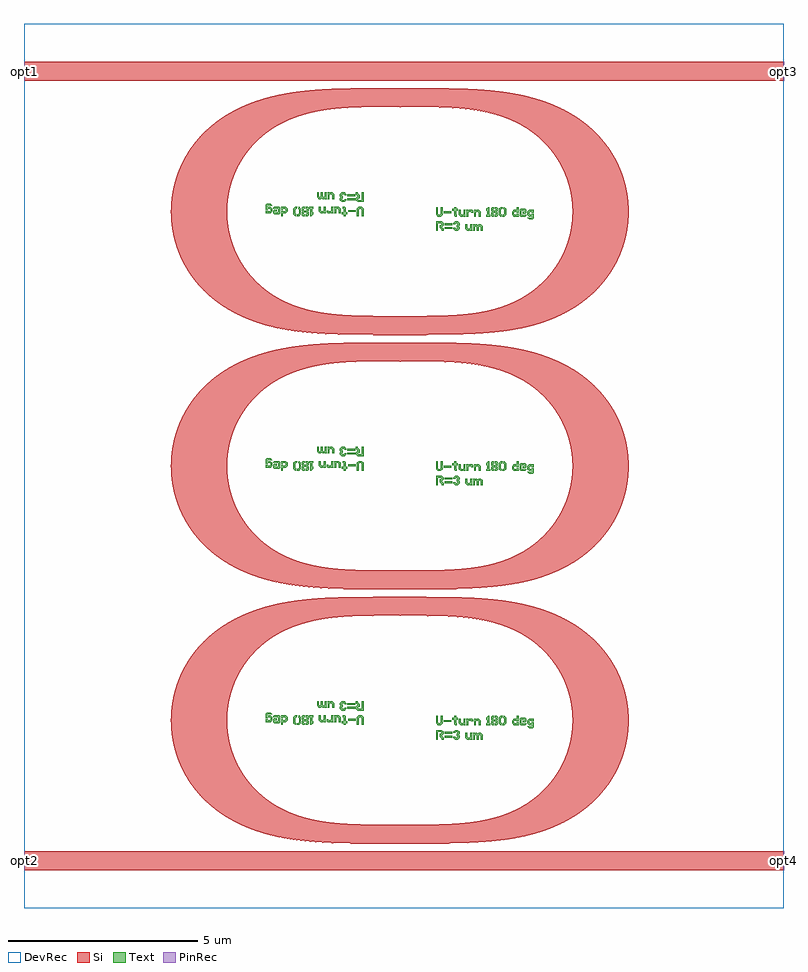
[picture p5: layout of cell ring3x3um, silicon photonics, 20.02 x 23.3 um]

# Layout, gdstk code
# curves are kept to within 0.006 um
from math import pi, radians
import gdstk
lib = gdstk.Library(unit=1e-6, precision=1e-09)
def R(c, l, rs):  # rectangles x0, y0, x1, y1
    for r in rs: c.add(gdstk.rectangle(r[:2], r[2:], *l))
def P(c, l, *ps):  # polygons
    for p in ps: c.add(gdstk.Polygon(p, *l))
Si = (1, 0)
PinRec = (1, 10)
Text = (10, 0)
DevRec = (68, 0)

text_gdsfactorypcomponen = lib.new_cell('text_gdsfactorypcomponentsptextsptext_TUmturn_180_deg*R_e07b9f0b$1')
R(text_gdsfactorypcomponen, Text, [(0.25,-0.325,0.45,-0.275), (0.25,-0.225,0.45,-0.175), (0.225,0.088,0.425,0.138)])
P(text_gdsfactorypcomponen, Text, [(1.767,0),(1.78,0.05),(1.8,0.05),(1.825,0.075),(1.825,0.175),(1.8,0.2),(1.813,0.25),(1.825,0.25),(1.875,0.2),(1.875,0.05),(1.825,0)],
  [(1.725,0),(1.675,0.05),(1.675,0.2),(1.725,0.25),(1.783,0.25),(1.77,0.2),(1.75,0.2),(1.725,0.175),(1.725,0.075),(1.75,0.05),(1.737,0)],
  [(1.025,0),(1.025,0.175),(1.075,0.175),(1.075,0.15),(1.1,0.175),(1.15,0.175),(1.2,0.125),(1.2,0),(1.15,0),(1.15,0.1),(1.125,0.125),(1.1,0.125),(1.075,0.1),(1.075,0)],
  [(2.475,-0.075),(2.425,-0.025),(2.55,-0.025),(2.55,0),(2.484,0),(2.425,0.05),(2.425,0.125),(2.475,0.175),(2.6,0.175),(2.6,0.1),(2.55,0.1),(2.55,0.125),(2.5,0.125),(2.475,0.1),(2.475,0.075),(2.5,0.05),(2.55,0.05),(2.55,0.075),(2.6,0.075),(2.6,-0.05),(2.575,-0.075)],
  [(0.85,-0.375),(0.8,-0.325),(0.8,-0.2),(0.85,-0.2),(0.85,-0.3),(0.875,-0.325),(0.9,-0.325),(0.925,-0.3),(0.925,-0.2),(0.975,-0.2),(0.975,-0.375),(0.925,-0.375),(0.925,-0.35),(0.9,-0.375)],
  [(0.675,0),(0.625,0.05),(0.625,0.175),(0.675,0.175),(0.675,0.075),(0.7,0.05),(0.725,0.05),(0.75,0.075),(0.75,0.175),(0.8,0.175),(0.8,0),(0.75,0),(0.75,0.025),(0.725,0)],
  [(1,-0.375),(1,-0.2),(1.05,-0.2),(1.05,-0.225),(1.075,-0.2),(1.1,-0.2),(1.125,-0.225),(1.15,-0.2),(1.2,-0.2),(1.25,-0.25),(1.25,-0.375),(1.2,-0.375),(1.2,-0.275),(1.175,-0.25),(1.15,-0.275),(1.15,-0.375),(1.1,-0.375),(1.1,-0.275),(1.075,-0.25),(1.05,-0.275),(1.05,-0.375)],
  [(1.35,0),(1.35,0.05),(1.375,0.05),(1.375,0.15),(1.35,0.15),(1.35,0.2),(1.4,0.25),(1.425,0.25),(1.425,0.05),(1.45,0.05),(1.45,0)],
  [(0.825,0),(0.825,0.175),(0.875,0.175),(0.875,0.15),(0.9,0.175),(0.975,0.175),(1,0.15),(1,0.1),(0.95,0.1),(0.95,0.125),(0.9,0.125),(0.875,0.1),(0.875,0)],
  [(2.25,0),(2.225,0.025),(2.225,0.175),(2.25,0.2),(2.375,0.2),(2.4,0.175),(2.4,0.1),(2.375,0.075),(2.31,0.075),(2.31,0.125),(2.35,0.125),(2.35,0.15),(2.275,0.15),(2.275,0.05),(2.4,0.05),(2.4,0.025),(2.375,0)],
  [(1.5,0),(1.475,0.025),(1.475,0.1),(1.5,0.125),(1.475,0.15),(1.475,0.225),(1.5,0.25),(1.55,0.25),(1.55,0.2),(1.525,0.2),(1.525,0.15),(1.6,0.15),(1.6,0.2),(1.575,0.2),(1.575,0.25),(1.625,0.25),(1.65,0.225),(1.65,0.15),(1.625,0.125),(1.65,0.1),(1.65,0.025),(1.625,0),(1.575,0),(1.575,0.05),(1.6,0.05),(1.6,0.1),(1.525,0.1),(1.525,0.05),(1.55,0.05),(1.55,0)],
  [(0.025,-0.375),(0.025,-0.125),(0.175,-0.125),(0.225,-0.175),(0.225,-0.225),(0.175,-0.275),(0.225,-0.325),(0.225,-0.375),(0.175,-0.375),(0.175,-0.35),(0.125,-0.3),(0.125,-0.225),(0.15,-0.225),(0.175,-0.2),(0.15,-0.175),(0.075,-0.175),(0.075,-0.375)],
  [(0.525,-0.375),(0.475,-0.325),(0.475,-0.3),(0.525,-0.3),(0.55,-0.325),(0.575,-0.325),(0.6,-0.3),(0.575,-0.275),(0.575,-0.225),(0.6,-0.2),(0.575,-0.175),(0.55,-0.175),(0.525,-0.2),(0.475,-0.2),(0.475,-0.175),(0.525,-0.125),(0.6,-0.125),(0.65,-0.175),(0.65,-0.225),(0.625,-0.25),(0.65,-0.275),(0.65,-0.325),(0.6,-0.375)],
  [(0.075,0),(0.025,0.05),(0.025,0.25),(0.075,0.25),(0.075,0.075),(0.1,0.05),(0.125,0.05),(0.15,0.075),(0.15,0.25),(0.2,0.25),(0.2,0.05),(0.15,0)],
  [(2.075,0),(2.025,0.05),(2.025,0.125),(2.075,0.175),(2.15,0.175),(2.15,0.25),(2.2,0.25),(2.2,0.1),(2.15,0.1),(2.15,0.125),(2.1,0.125),(2.075,0.1),(2.075,0.075),(2.1,0.05),(2.15,0.05),(2.15,0.075),(2.2,0.075),(2.2,0)],
  [(0.525,0),(0.5,0.025),(0.5,0.15),(0.45,0.15),(0.45,0.2),(0.5,0.2),(0.5,0.25),(0.55,0.25),(0.55,0.2),(0.6,0.2),(0.6,0.15),(0.55,0.15),(0.55,0.05),(0.575,0.05),(0.575,0)])

topic_vw_uturn_r3_1 = lib.new_cell('TOPIC_VW_Uturn_R3$1')
P(topic_vw_uturn_r3_1, Si, [(0,-0.25),(0,0.25),(0.81,0.252),(1.301,0.265),(1.8,0.303),(2.154,0.355),(2.508,0.436),(2.866,0.557),(3.172,0.701),(3.443,0.869),(3.678,1.055),(3.899,1.277),(4.082,1.511),(4.251,1.788),(4.382,2.079),(4.471,2.363),(4.53,2.676),(4.55,2.963),(4.535,3.281),(4.48,3.601),(4.382,3.921),(4.261,4.193),(4.133,4.414),(4.033,4.558),(3.92,4.699),(3.7,4.925),(3.471,5.111),(3.207,5.28),(3.037,5.368),(2.866,5.443),(2.508,5.564),(2.154,5.645),(1.8,5.697),(1.301,5.735),(0.81,5.748),(0,5.75),(0,6.25),(1.292,6.245),(2.061,6.217),(2.708,6.155),(3.247,6.06),(3.539,5.986),(3.811,5.9),(4.099,5.787),(4.328,5.678),(4.556,5.55),(4.754,5.419),(4.931,5.284),(5.109,5.127),(5.291,4.938),(5.479,4.703),(5.634,4.464),(5.778,4.182),(5.875,3.933),(5.955,3.649),(6.004,3.375),(6.027,3.084),(6.019,2.768),(5.985,2.5),(5.928,2.242),(5.828,1.938),(5.705,1.666),(5.568,1.428),(5.417,1.214),(5.232,0.997),(5.063,0.83),(4.844,0.647),(4.616,0.488),(4.398,0.359),(4.164,0.242),(3.856,0.116),(3.615,0.036),(3.316,-0.044),(3.013,-0.107),(2.708,-0.155),(2.061,-0.217),(1.292,-0.245)])
topic_vw_uturn_r3_1.add(gdstk.Reference(text_gdsfactorypcomponen, (0.93,2.87)))

c_text_gdsfactorypcomponen = lib.new_cell('text_gdsfactorypcomponentsptextsptext_TUmturn_180_deg*R_e07b9f0b$2')
R(c_text_gdsfactorypcomponen, Text, [(0.25,-0.325,0.45,-0.275), (0.25,-0.225,0.45,-0.175), (0.225,0.088,0.425,0.138)])
P(c_text_gdsfactorypcomponen, Text, [(1.767,0),(1.78,0.05),(1.8,0.05),(1.825,0.075),(1.825,0.175),(1.8,0.2),(1.813,0.25),(1.825,0.25),(1.875,0.2),(1.875,0.05),(1.825,0)],
  [(1.725,0),(1.675,0.05),(1.675,0.2),(1.725,0.25),(1.783,0.25),(1.77,0.2),(1.75,0.2),(1.725,0.175),(1.725,0.075),(1.75,0.05),(1.737,0)],
  [(1.025,0),(1.025,0.175),(1.075,0.175),(1.075,0.15),(1.1,0.175),(1.15,0.175),(1.2,0.125),(1.2,0),(1.15,0),(1.15,0.1),(1.125,0.125),(1.1,0.125),(1.075,0.1),(1.075,0)],
  [(2.475,-0.075),(2.425,-0.025),(2.55,-0.025),(2.55,0),(2.484,0),(2.425,0.05),(2.425,0.125),(2.475,0.175),(2.6,0.175),(2.6,0.1),(2.55,0.1),(2.55,0.125),(2.5,0.125),(2.475,0.1),(2.475,0.075),(2.5,0.05),(2.55,0.05),(2.55,0.075),(2.6,0.075),(2.6,-0.05),(2.575,-0.075)],
  [(0.85,-0.375),(0.8,-0.325),(0.8,-0.2),(0.85,-0.2),(0.85,-0.3),(0.875,-0.325),(0.9,-0.325),(0.925,-0.3),(0.925,-0.2),(0.975,-0.2),(0.975,-0.375),(0.925,-0.375),(0.925,-0.35),(0.9,-0.375)],
  [(0.675,0),(0.625,0.05),(0.625,0.175),(0.675,0.175),(0.675,0.075),(0.7,0.05),(0.725,0.05),(0.75,0.075),(0.75,0.175),(0.8,0.175),(0.8,0),(0.75,0),(0.75,0.025),(0.725,0)],
  [(1,-0.375),(1,-0.2),(1.05,-0.2),(1.05,-0.225),(1.075,-0.2),(1.1,-0.2),(1.125,-0.225),(1.15,-0.2),(1.2,-0.2),(1.25,-0.25),(1.25,-0.375),(1.2,-0.375),(1.2,-0.275),(1.175,-0.25),(1.15,-0.275),(1.15,-0.375),(1.1,-0.375),(1.1,-0.275),(1.075,-0.25),(1.05,-0.275),(1.05,-0.375)],
  [(1.35,0),(1.35,0.05),(1.375,0.05),(1.375,0.15),(1.35,0.15),(1.35,0.2),(1.4,0.25),(1.425,0.25),(1.425,0.05),(1.45,0.05),(1.45,0)],
  [(0.825,0),(0.825,0.175),(0.875,0.175),(0.875,0.15),(0.9,0.175),(0.975,0.175),(1,0.15),(1,0.1),(0.95,0.1),(0.95,0.125),(0.9,0.125),(0.875,0.1),(0.875,0)],
  [(2.25,0),(2.225,0.025),(2.225,0.175),(2.25,0.2),(2.375,0.2),(2.4,0.175),(2.4,0.1),(2.375,0.075),(2.31,0.075),(2.31,0.125),(2.35,0.125),(2.35,0.15),(2.275,0.15),(2.275,0.05),(2.4,0.05),(2.4,0.025),(2.375,0)],
  [(1.5,0),(1.475,0.025),(1.475,0.1),(1.5,0.125),(1.475,0.15),(1.475,0.225),(1.5,0.25),(1.55,0.25),(1.55,0.2),(1.525,0.2),(1.525,0.15),(1.6,0.15),(1.6,0.2),(1.575,0.2),(1.575,0.25),(1.625,0.25),(1.65,0.225),(1.65,0.15),(1.625,0.125),(1.65,0.1),(1.65,0.025),(1.625,0),(1.575,0),(1.575,0.05),(1.6,0.05),(1.6,0.1),(1.525,0.1),(1.525,0.05),(1.55,0.05),(1.55,0)],
  [(0.025,-0.375),(0.025,-0.125),(0.175,-0.125),(0.225,-0.175),(0.225,-0.225),(0.175,-0.275),(0.225,-0.325),(0.225,-0.375),(0.175,-0.375),(0.175,-0.35),(0.125,-0.3),(0.125,-0.225),(0.15,-0.225),(0.175,-0.2),(0.15,-0.175),(0.075,-0.175),(0.075,-0.375)],
  [(0.525,-0.375),(0.475,-0.325),(0.475,-0.3),(0.525,-0.3),(0.55,-0.325),(0.575,-0.325),(0.6,-0.3),(0.575,-0.275),(0.575,-0.225),(0.6,-0.2),(0.575,-0.175),(0.55,-0.175),(0.525,-0.2),(0.475,-0.2),(0.475,-0.175),(0.525,-0.125),(0.6,-0.125),(0.65,-0.175),(0.65,-0.225),(0.625,-0.25),(0.65,-0.275),(0.65,-0.325),(0.6,-0.375)],
  [(0.075,0),(0.025,0.05),(0.025,0.25),(0.075,0.25),(0.075,0.075),(0.1,0.05),(0.125,0.05),(0.15,0.075),(0.15,0.25),(0.2,0.25),(0.2,0.05),(0.15,0)],
  [(2.075,0),(2.025,0.05),(2.025,0.125),(2.075,0.175),(2.15,0.175),(2.15,0.25),(2.2,0.25),(2.2,0.1),(2.15,0.1),(2.15,0.125),(2.1,0.125),(2.075,0.1),(2.075,0.075),(2.1,0.05),(2.15,0.05),(2.15,0.075),(2.2,0.075),(2.2,0)],
  [(0.525,0),(0.5,0.025),(0.5,0.15),(0.45,0.15),(0.45,0.2),(0.5,0.2),(0.5,0.25),(0.55,0.25),(0.55,0.2),(0.6,0.2),(0.6,0.15),(0.55,0.15),(0.55,0.05),(0.575,0.05),(0.575,0)])

topic_vw_uturn_r3_2 = lib.new_cell('TOPIC_VW_Uturn_R3$2')
P(topic_vw_uturn_r3_2, Si, [(0,-0.25),(0,0.25),(0.81,0.252),(1.301,0.265),(1.8,0.303),(2.154,0.355),(2.508,0.436),(2.866,0.557),(3.172,0.701),(3.443,0.869),(3.678,1.055),(3.899,1.277),(4.082,1.511),(4.251,1.788),(4.382,2.079),(4.471,2.363),(4.53,2.676),(4.55,2.963),(4.535,3.281),(4.48,3.601),(4.382,3.921),(4.261,4.193),(4.133,4.414),(4.033,4.558),(3.92,4.699),(3.7,4.925),(3.471,5.111),(3.207,5.28),(3.037,5.368),(2.866,5.443),(2.508,5.564),(2.154,5.645),(1.8,5.697),(1.301,5.735),(0.81,5.748),(0,5.75),(0,6.25),(1.292,6.245),(2.061,6.217),(2.708,6.155),(3.247,6.06),(3.539,5.986),(3.811,5.9),(4.099,5.787),(4.328,5.678),(4.556,5.55),(4.754,5.419),(4.931,5.284),(5.109,5.127),(5.291,4.938),(5.479,4.703),(5.634,4.464),(5.778,4.182),(5.875,3.933),(5.955,3.649),(6.004,3.375),(6.027,3.084),(6.019,2.768),(5.985,2.5),(5.928,2.242),(5.828,1.938),(5.705,1.666),(5.568,1.428),(5.417,1.214),(5.232,0.997),(5.063,0.83),(4.844,0.647),(4.616,0.488),(4.398,0.359),(4.164,0.242),(3.856,0.116),(3.615,0.036),(3.316,-0.044),(3.013,-0.107),(2.708,-0.155),(2.061,-0.217),(1.292,-0.245)])
topic_vw_uturn_r3_2.add(gdstk.Reference(c_text_gdsfactorypcomponen, (0.93,2.87)))

ring3x3um = lib.new_cell('ring3x3um')
R(ring3x3um, Si, [(0,0,20,0.5), (0,20.8,20,21.3)])
R(ring3x3um, DevRec, [(0,-1,20,22.3)])
ring3x3um.add(gdstk.FlexPath([(0.01,0.25),(-0.01,0.25)], 0.5, ends="flush", simple_path=True, layer=1, datatype=10))  # PinRec
ring3x3um.add(gdstk.FlexPath([(0.01,21.05),(-0.01,21.05)], 0.5, ends="flush", simple_path=True, layer=1, datatype=10))  # PinRec
ring3x3um.add(gdstk.FlexPath([(19.99,0.25),(20.01,0.25)], 0.5, ends="flush", simple_path=True, layer=1, datatype=10))  # PinRec
ring3x3um.add(gdstk.FlexPath([(19.99,21.05),(20.01,21.05)], 0.5, ends="flush", simple_path=True, layer=1, datatype=10))  # PinRec
ring3x3um.add(gdstk.Reference(topic_vw_uturn_r3_1, (9.89,0.95)))
ring3x3um.add(gdstk.Reference(topic_vw_uturn_r3_1, (9.89,7.65)))
ring3x3um.add(gdstk.Reference(topic_vw_uturn_r3_1, (9.89,14.35)))
ring3x3um.add(gdstk.Reference(topic_vw_uturn_r3_2, (9.89,6.95), rotation=pi))
ring3x3um.add(gdstk.Reference(topic_vw_uturn_r3_2, (9.89,13.65), rotation=pi))
ring3x3um.add(gdstk.Reference(topic_vw_uturn_r3_2, (9.89,20.35), rotation=pi))
ring3x3um.add(gdstk.Label('opt2', (0,0.25), layer=1, texttype=10))
ring3x3um.add(gdstk.Label('opt1', (0,21.05), layer=1, texttype=10))
ring3x3um.add(gdstk.Label('opt3', (20,21.05), layer=1, texttype=10))
ring3x3um.add(gdstk.Label('opt4', (20,0.25), layer=1, texttype=10))

lib.write_gds('ring3x3um.gds')
